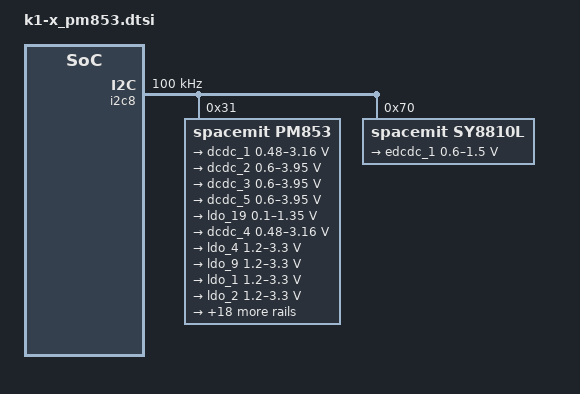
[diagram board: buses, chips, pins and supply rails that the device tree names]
// SPDX-License-Identifier: (GPL-2.0 OR MIT)
/* Copyright (c) 2023 Spacemit, Inc */

&i2c8 {
	clock-frequency = <100000>;
	u-boot,dm-spl;
	status = "okay";

	pm853: pmic@31 {
		compatible = "spacemit,pm853";
		reg = <0x31>;
		bus = <8>;
		u-boot,dm-spl;

		regulators {
			/* buck */
			dcdc_1: DCDC_REG1 {
				regulator-name = "dcdc1";
				regulator-min-microvolt = <480000>;
				regulator-max-microvolt = <3160000>;
				regulator-init-microvolt = <950000>;
				regulator-boot-on;
				u-boot,dm-spl;
				regulator-state-mem {
					regulator-off-in-suspend;
				};
			};

			dcdc_2: DCDC_REG2 {
				regulator-name = "dcdc2";
				regulator-min-microvolt = <600000>;
				regulator-max-microvolt = <3950000>;
			};

			dcdc_3: DCDC_REG3 {
				regulator-name = "dcdc3";
				regulator-min-microvolt = <600000>;
				regulator-max-microvolt = <3950000>;
			};

			/**
			 * the order of powering on
			 * 1. dcdc5
			 * 2. ldo19
			 * 3. dcdc4
			 * 4. ldo4
			 * 5. ldo9
			 */
			dcdc_5: DCDC_REG5 {
				regulator-name = "dcdc5";
				regulator-min-microvolt = <600000>;
				regulator-max-microvolt = <3950000>;
				regulator-boot-on;
				u-boot,dm-spl;
				regulator-state-mem {
					regulator-off-in-suspend;
				};
			};

			ldo_19: LDO_REG19 {
				regulator-name = "ldo19";
				regulator-min-microvolt = <100000>;
				regulator-max-microvolt = <1350000>;
				regulator-boot-on;
				u-boot,dm-spl;
				regulator-state-mem {
					regulator-off-in-suspend;
				};
			};

			dcdc_4: DCDC_REG4 {
				regulator-name = "dcdc4";
				regulator-min-microvolt = <480000>;
				regulator-max-microvolt = <3160000>;
				regulator-init-microvolt = <650000>;
				regulator-boot-on;
				u-boot,dm-spl;
				regulator-state-mem {
					regulator-off-in-suspend;
				};
			};

			ldo_4: LDO_REG4 {
				regulator-name = "ldo4";
				regulator-min-microvolt = <1200000>;
				regulator-max-microvolt = <3300000>;
				regulator-init-microvolt = <3300000>;
				regulator-boot-on;
				u-boot,dm-spl;
				regulator-state-mem {
					regulator-off-in-suspend;
				};
			};

			ldo_9: LDO_REG9 {
				regulator-name = "ldo9";
				regulator-min-microvolt = <1200000>;
				regulator-max-microvolt = <3300000>;
				regulator-init-microvolt = <3300000>;
				regulator-boot-on;
				u-boot,dm-spl;
				regulator-state-mem {
					regulator-off-in-suspend;
				};
			};

			/* ldo */
			ldo_1: LDO_REG1 {
				regulator-name = "ldo1";
				regulator-min-microvolt = <1200000>;
				regulator-max-microvolt = <3300000>;
			};

			ldo_2: LDO_REG2 {
				regulator-name = "ldo2";
				regulator-min-microvolt = <1200000>;
				regulator-max-microvolt = <3300000>;
			};

			ldo_3: LDO_REG3 {
				regulator-name = "ldo3";
				regulator-min-microvolt = <1200000>;
				regulator-max-microvolt = <3300000>;
			};

			ldo_5: LDO_REG5 {
				regulator-name = "ldo5";
				regulator-min-microvolt = <1600000>;
				regulator-max-microvolt = <1900000>;
			};

			ldo_6: LDO_REG6 {
				regulator-name = "ldo6";
				regulator-min-microvolt = <1200000>;
				regulator-max-microvolt = <3300000>;
			};

			ldo_7: LDO_REG7 {
				regulator-name = "ldo7";
				regulator-min-microvolt = <1200000>;
				regulator-max-microvolt = <1950000>;
			};

			ldo_8: LDO_REG8 {
				regulator-name = "ldo8";
				regulator-min-microvolt = <1200000>;
				regulator-max-microvolt = <3300000>;
			};

			ldo_10: LDO_REG10 {
				regulator-name = "ldo10";
				regulator-min-microvolt = <1200000>;
				regulator-max-microvolt = <3300000>;
			};

			ldo_11: LDO_REG11 {
				regulator-name = "ldo11";
				regulator-boot-on;
				regulator-min-microvolt = <1200000>;
				regulator-max-microvolt = <1950000>;
				u-boot,dm-spl;
				regulator-state-mem {
					regulator-off-in-suspend;
				};
			};

			ldo_12: LDO_REG12 {
				regulator-name = "ldo12";
				regulator-min-microvolt = <1200000>;
				regulator-max-microvolt = <3300000>;
			};

			ldo_13: LDO_REG13 {
				regulator-name = "ldo13";
				regulator-min-microvolt = <1200000>;
				regulator-max-microvolt = <3300000>;
			};

			ldo_14: LDO_REG14 {
				regulator-name = "ldo14";
				regulator-min-microvolt = <1200000>;
				regulator-max-microvolt = <3300000>;
			};

			ldo_15: LDO_REG15 {
				regulator-name = "ldo15";
				regulator-min-microvolt = <1200000>;
				regulator-max-microvolt = <1950000>;
			};

			ldo_16: LDO_REG16 {
				regulator-name = "ldo16";
				regulator-min-microvolt = <1200000>;
				regulator-max-microvolt = <3300000>;
			};

			ldo_17: LDO_REG17 {
				regulator-name = "ldo17";
				regulator-min-microvolt = <100000>;
				regulator-max-microvolt = <1350000>;
			};

			ldo_18: LDO_REG18 {
				regulator-name = "ldo18";
				regulator-min-microvolt = <1200000>;
				regulator-max-microvolt = <1950000>;
			};

			ldo_20: LDO_REG20 {
				regulator-name = "ldo20";
				regulator-min-microvolt = <100000>;
				regulator-max-microvolt = <1350000>;
			};

			ldo_21: LDO_REG21 {
				regulator-name = "ldo21";
				regulator-min-microvolt = <1200000>;
				regulator-max-microvolt = <1950000>;
			};

			ldo_22: LDO_REG22 {
				regulator-name = "ldo22";
				regulator-min-microvolt = <100000>;
				regulator-max-microvolt = <1350000>;
			};

			sw_1: SWITCH_REG1 {
				regulator-name = "switch1";
			};
		};
	};

	sy8810l: sy8810l@70 {
		compatible = "spacemit,sy8810l";
		reg = <0x70>;
		bus = <8>;
		u-boot,dm-spl;

		regulators {
			u-boot,dm-spl;

			edcdc_1: EDCDC_REG1 {
				regulator-name = "edcdc1";
				regulator-min-microvolt = <600000>;
				regulator-max-microvolt = <1500000>;
				regulator-init-microvolt = <950000>;
				regulator-boot-on;
				u-boot,dm-spl;
				regulator-state-mem {
					regulator-off-in-suspend;
				};
			};
		};
	};
};
